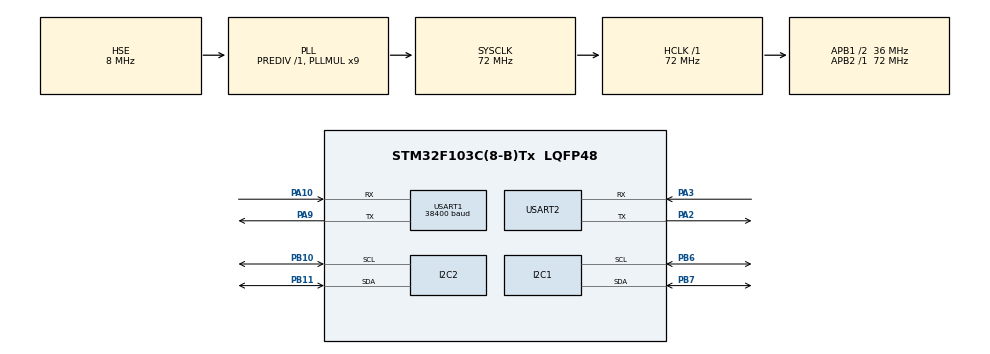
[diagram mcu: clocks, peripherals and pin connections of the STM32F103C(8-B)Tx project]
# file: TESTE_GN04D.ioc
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Dma.Request0=USART1_RX
Dma.Request1=USART2_TX
Dma.USART1_RX.0.Direction=DMA_PERIPH_TO_MEMORY
Dma.USART1_RX.0.Instance=DMA1_Channel5
Dma.USART1_RX.0.MemDataAlignment=DMA_MDATAALIGN_BYTE
Dma.USART1_RX.0.MemInc=DMA_MINC_ENABLE
Dma.USART1_RX.0.Mode=DMA_CIRCULAR
Dma.USART1_RX.0.PeriphDataAlignment=DMA_PDATAALIGN_BYTE
Dma.USART1_RX.0.PeriphInc=DMA_PINC_DISABLE
Dma.USART1_RX.0.Priority=DMA_PRIORITY_VERY_HIGH
Dma.USART2_TX.1.Direction=DMA_MEMORY_TO_PERIPH
Dma.USART2_TX.1.Instance=DMA1_Channel7
Dma.USART2_TX.1.MemDataAlignment=DMA_MDATAALIGN_BYTE
Dma.USART2_TX.1.MemInc=DMA_MINC_ENABLE
Dma.USART2_TX.1.Mode=DMA_NORMAL
Dma.USART2_TX.1.PeriphDataAlignment=DMA_PDATAALIGN_BYTE
Dma.USART2_TX.1.PeriphInc=DMA_PINC_DISABLE
Dma.USART2_TX.1.Priority=DMA_PRIORITY_LOW
I2C1.I2C_Mode=I2C_Fast
I2C2.I2C_Mode=I2C_Fast
Mcu.Family=STM32F1
Mcu.Name=STM32F103C(8-B)Tx
Mcu.Package=LQFP48
NVIC.DMA1_Channel5_IRQn=true\:0\:0\:false\:false\:true\:false\:true\:true
NVIC.DMA1_Channel7_IRQn=true\:0\:0\:false\:false\:true\:false\:true\:true
NVIC.PriorityGroup=NVIC_PRIORITYGROUP_4
NVIC.USART1_IRQn=true\:0\:0\:false\:false\:true\:true\:true\:true
NVIC.USART2_IRQn=true\:0\:0\:false\:false\:true\:true\:true\:true
PA10.Mode=Asynchronous
PA10.Signal=USART1_RX
PA13.Mode=Serial_Wire
PA13.Signal=SYS_JTMS-SWDIO
PA14.Mode=Serial_Wire
PA14.Signal=SYS_JTCK-SWCLK
PA2.Mode=Asynchronous
PA2.Signal=USART2_TX
PA3.Mode=Asynchronous
PA3.Signal=USART2_RX
PA9.Mode=Asynchronous
PA9.Signal=USART1_TX
PB10.Mode=I2C
PB10.Signal=I2C2_SCL
PB11.Mode=I2C
PB11.Signal=I2C2_SDA
PB6.Mode=I2C
PB6.Signal=I2C1_SCL
PB7.Mode=I2C
PB7.Signal=I2C1_SDA
PD0-OSC_IN.Mode=HSE-External-Oscillator
PD0-OSC_IN.Signal=RCC_OSC_IN
PD1-OSC_OUT.Mode=HSE-External-Oscillator
PD1-OSC_OUT.Signal=RCC_OSC_OUT
ProjectManager.HeapSize=0x200
ProjectManager.StackSize=0x400
ProjectManager.TargetToolchain=STM32CubeIDE
RCC.AHBFreq_Value=72000000
RCC.APB1CLKDivider=RCC_HCLK_DIV2
RCC.APB1Freq_Value=36000000
RCC.APB1TimFreq_Value=72000000
RCC.APB2Freq_Value=72000000
RCC.APB2TimFreq_Value=72000000
RCC.HCLKFreq_Value=72000000
RCC.PLLMUL=RCC_PLL_MUL9
RCC.PLLSourceVirtual=RCC_PLLSOURCE_HSE
RCC.SYSCLKFreq_VALUE=72000000
RCC.SYSCLKSource=RCC_SYSCLKSOURCE_PLLCLK
RCC.USBFreq_Value=72000000
USART1.BaudRate=38400
USART1.VirtualMode=VM_ASYNC
USART2.VirtualMode=VM_ASYNC
board=custom

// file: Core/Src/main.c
/* USER CODE BEGIN Header */
/**
  ******************************************************************************
  * @file           : main.c
  * @brief          : Main program body
  ******************************************************************************
  * @attention
  *
  * Copyright (c) 2026 STMicroelectronics.
  * All rights reserved.
  *
  * This software is licensed under terms that can be found in the LICENSE file
  * in the root directory of this software component.
  * If no LICENSE file comes with this software, it is provided AS-IS.
  *
  ******************************************************************************
  */
/* USER CODE END Header */
#include "main.h"
/* USER CODE BEGIN Includes */
#include "ICM_20948.h"
#include "imu_orientation.h"
#include <stdio.h>
#include <string.h>
#include <math.h>
/* USER CODE END Includes */

I2C_HandleTypeDef hi2c1;
I2C_HandleTypeDef hi2c2;

UART_HandleTypeDef huart1;
UART_HandleTypeDef huart2;
DMA_HandleTypeDef hdma_usart1_rx;
DMA_HandleTypeDef hdma_usart2_tx;

/* USER CODE BEGIN PV */
ICM20948_t icm;
ICM20948_e status;

/* A orientacao inicial e mantida pelo modulo imu_orientation.c. */
uint8_t imu_initialized = 0;
volatile uint32_t imu_read_errors = 0;
float imu_calib_acc_norm = 0.0f;
uint32_t imu_last_read = 0;
uint32_t imu_read_counter = 0;

#define GPS_DMA_SIZE 512
#define GPS_NMEA_SIZE 128

// Buffer escrito automaticamente pelo DMA
uint8_t gps_dma_buffer[GPS_DMA_SIZE];

// Posição de leitura do software
uint16_t gps_dma_read_pos = 0;

// Buffer para montar uma sentença NMEA
uint8_t gps_nmea_buffer[GPS_NMEA_SIZE];
uint16_t gps_nmea_index = 0;

// Indica se estamos recebendo uma sentença
uint8_t gps_nmea_active = 0;

// Estatísticas
uint32_t gps_rx_bytes = 0;
uint32_t gps_nmea_received = 0;
uint32_t gps_nmea_discarded = 0;

#define TX_QUEUE_SIZE 8
#define TX_MSG_SIZE   200

typedef struct
{
    uint8_t data[TX_MSG_SIZE];
    uint16_t length;
} TX_Message_t;

static TX_Message_t tx_queue[TX_QUEUE_SIZE];

static uint8_t tx_head = 0;
static uint8_t tx_tail = 0;
static uint8_t tx_count = 0;

static uint8_t tx_active = 0;
static volatile uint8_t tx_done = 0;

volatile uint32_t tx_sent = 0;
volatile uint32_t tx_dropped = 0;
volatile uint32_t tx_start_errors = 0;

/* USER CODE END PV */

void SystemClock_Config(void);
static void MX_GPIO_Init(void);
static void MX_DMA_Init(void);
static void MX_USART1_UART_Init(void);
static void MX_USART2_UART_Init(void);
static void MX_I2C2_Init(void);
static void MX_I2C1_Init(void);

/* USER CODE BEGIN 0 */

uint8_t TX_Enqueue(const uint8_t *data, uint16_t length)
{
    if (data == NULL ||
        length == 0 ||
        length > TX_MSG_SIZE)
    {
        tx_dropped++;
        return 0;
    }

    if (tx_count >= TX_QUEUE_SIZE)
    {
        tx_dropped++;
        return 0;
    }

    TX_Message_t *msg = &tx_queue[tx_head];

    memcpy(msg->data, data, length);
    msg->length = length;

    tx_head = (tx_head + 1U) % TX_QUEUE_SIZE;
    tx_count++;

    return 1;
}

void TX_Service(void)
{
    // Finaliza a mensagem anterior
    if (tx_done)
    {
        tx_done = 0;

        if (tx_active)
        {
            tx_active = 0;

            tx_tail = (tx_tail + 1U) % TX_QUEUE_SIZE;
            tx_count--;

            tx_sent++;
        }
    }

    // Se DMA ocupado ou fila vazia, retorna
    if (tx_active || tx_count == 0)
    {
        return;
    }

    TX_Message_t *msg = &tx_queue[tx_tail];

    HAL_StatusTypeDef result = HAL_UART_Transmit_DMA(
        &huart2,
        msg->data,
        msg->length
    );

    if (result == HAL_OK)
    {
        tx_active = 1;
    }
    else if (result == HAL_ERROR)
    {
        tx_start_errors++;
    }
}

void GPS_ProcessByte(uint8_t byte)
{
    gps_rx_bytes++;

    // Início de uma nova sentença NMEA
    if (byte == '$')
    {
        gps_nmea_index = 0;
        gps_nmea_active = 1;
    }

    // Ignora bytes fora de uma sentença
    if (!gps_nmea_active)
    {
        return;
    }

    // Proteção contra estouro do buffer
    if (gps_nmea_index >= GPS_NMEA_SIZE)
    {
        gps_nmea_index = 0;
        gps_nmea_active = 0;
        gps_nmea_discarded++;
        return;
    }

    // Armazena o byte recebido
    gps_nmea_buffer[gps_nmea_index++] = byte;

    // Sentença completa
    if (byte == '\n')
    {
        if (gps_nmea_index >= 7)
        {
            if (
                memcmp(gps_nmea_buffer, "$GNGGA,", 7) == 0 ||
                memcmp(gps_nmea_buffer, "$GNRMC,", 7) == 0
            )
            {
            	if (TX_Enqueue(gps_nmea_buffer, gps_nmea_index))
            	{
            	    gps_nmea_received++;
            	}
            	else
            	{
            	    gps_nmea_discarded++;
            	}
            }
        }

        gps_nmea_index = 0;
        gps_nmea_active = 0;
    }
}

void GPS_ProcessDMA(void)
{
    if (huart1.hdmarx == NULL ||
        huart1.RxState != HAL_UART_STATE_BUSY_RX)
    {
        return;
    }

    uint16_t write_pos =
        GPS_DMA_SIZE -
        __HAL_DMA_GET_COUNTER(huart1.hdmarx);

    if (write_pos >= GPS_DMA_SIZE)
    {
        write_pos = 0;
    }

    while (gps_dma_read_pos != write_pos)
    {
        uint8_t byte = gps_dma_buffer[gps_dma_read_pos];

        gps_dma_read_pos++;

        if (gps_dma_read_pos >= GPS_DMA_SIZE)
        {
            gps_dma_read_pos = 0;
        }

        GPS_ProcessByte(byte);
    }
}
/* Filtro a 100 Hz; transmissao compacta de atitude a 25 Hz. */
void IMU_ReadAndPrint(float dt)
{
    if (!imu_initialized) return;

    if (ICM20948_Read(&icm) != ICM20948_OK)
    {
        imu_read_errors++;
        return;
    }
    imu_read_counter++;

    /* O acelerometro entra BRUTO (g): nao retirar offsets de montagem.
       O giroscopio entra com o bias de repouso descontado (graus/s). */
    IMU_Attitude atitude;
    if (!IMU_OrientationUpdate(
            icm.accel.x, icm.accel.y, icm.accel.z,
            icm.gyro.x - icm.gyro_offset.x,
            icm.gyro.y - icm.gyro_offset.y,
            icm.gyro.z - icm.gyro_offset.z,
            dt, &atitude))
    {
        return;
    }

    static uint32_t ultimo_envio = 0;
    uint32_t agora = HAL_GetTick();
    if ((uint32_t)(agora - ultimo_envio) >= 40U)
    {
        ultimo_envio = agora;
        char msg[96];
        int len = snprintf(msg, sizeof(msg),
                           "$ATT,%.2f,%.2f,%.2f\r\n",
                           (double)atitude.roll_deg,
                           (double)atitude.pitch_deg,
                           (double)atitude.yaw_deg);
        if (len > 0 && len < (int)sizeof(msg))
        {
            TX_Enqueue((const uint8_t *)msg, (uint16_t)len);
        }
    }
}
/* USER CODE END 0 */

int main(void)
{

  /* MCU Configuration--------------------------------------------------------*/

  /* Reset of all peripherals, Initializes the Flash interface and the Systick. */
  HAL_Init();

  /* Configure the system clock */
  SystemClock_Config();

  /* Initialize all configured peripherals */
  MX_GPIO_Init();
  MX_DMA_Init();
  MX_USART1_UART_Init();
  MX_USART2_UART_Init();
  MX_I2C2_Init();
  MX_I2C1_Init();
  /* USER CODE BEGIN 2 */
  HAL_Delay(1000);

  // Configuracao da ICM-20948
  icm.i2c = &hi2c1;
  icm.address = ADDRESS_I2C_AD0_FROM_GND;

  // Inicializacao
  status = ICM20948_Init(&icm);

  if (status == ICM20948_OK)
  {
      /* Confere a escala REAL do CI antes de confiar nos valores em g e dps. */
      uint8_t accel_config_reg = 0;
      uint8_t gyro_config_reg = 0;
      ICM20948_e cfg_acc_status = ICM20948_SelectBank(&icm, BANK_2);
      ICM20948_e cfg_gyro_status = ICM20948_FAIL;
      if (cfg_acc_status == ICM20948_OK)
      {
          cfg_acc_status = ICM20948_Reg_Read(&icm, B2_ACCEL_CONFIG,
                                            &accel_config_reg, 1);
          cfg_gyro_status = ICM20948_Reg_Read(&icm, B2_GYRO_CONFIG,
                                             &gyro_config_reg, 1);
      }
      ICM20948_SelectBank(&icm, BANK_0);

      char cfg_msg[100];
      int cfg_len = snprintf(cfg_msg, sizeof(cfg_msg),
                             "ICM CFG ACC:0x%02X GYRO:0x%02X OK:%d\r\n",
                             accel_config_reg, gyro_config_reg,
                             (cfg_acc_status == ICM20948_OK &&
                              cfg_gyro_status == ICM20948_OK) ? 1 : 0);
      if (cfg_len > 0 && cfg_len < (int)sizeof(cfg_msg))
          HAL_UART_Transmit(&huart2, (uint8_t *)cfg_msg,
                            (uint16_t)cfg_len, 100);

      const char msg[] = "ICM20948 inicializado\r\n";

      HAL_UART_Transmit(
          &huart2,
          (uint8_t *)msg,
          sizeof(msg) - 1,
          100
      );

      // Calibra antes de iniciar o DMA do GPS
      status = ICM20948_Calibrate(&icm, 1000, 5);

      if (status == ICM20948_OK)
      {
          /* As medias do accelerometro foram armazenadas em acel_offset.
             O Z recebeu -1 g na biblioteca, portanto restauramos +1 g. */
          float ax0 = icm.acel_offset.x;
          float ay0 = icm.acel_offset.y;
          float az0 = icm.acel_offset.z + 1.0f;
          imu_calib_acc_norm = sqrtf(ax0*ax0 + ay0*ay0 + az0*az0);

          imu_initialized = IMU_OrientationBegin(ax0, ay0, az0) ? 1U : 0U;

          char calib_msg[120];
          int calib_len = snprintf(calib_msg, sizeof(calib_msg),
                                   "ICM calib: |ACC|=%.3f g, fusao=%s\r\n",
                                   (double)imu_calib_acc_norm,
                                   imu_initialized ? "OK" : "ERRO_ESCALA");
          if (calib_len > 0 && calib_len < (int)sizeof(calib_msg))
          {
              HAL_UART_Transmit(&huart2, (uint8_t *)calib_msg,
                                (uint16_t)calib_len, 100);
          }
          /* Se |ACC| for ~7.6 g em repouso, a fusao NAO inicia.
             Verifique ACCEL_CONFIG e o divisor no driver ICM_20948.c. */
      }
      else
      {
          char msg[80];

          int len = snprintf(
              msg,
              sizeof(msg),
              "ERRO CALIBRACAO IMU: %d\r\n",
              (int)status
          );

          if (len > 0 && len < (int)sizeof(msg))
          {
              HAL_UART_Transmit(
                  &huart2,
                  (uint8_t *)msg,
                  (uint16_t)len,
                  100
              );
          }
      }
  }
  else
  {
      char msg[80];

      int len = snprintf(
          msg,
          sizeof(msg),
          "ERRO INICIALIZACAO IMU: %d\r\n",
          (int)status
      );

      if (len > 0 && len < (int)sizeof(msg))
      {
          HAL_UART_Transmit(
              &huart2,
              (uint8_t *)msg,
              (uint16_t)len,
              100
          );
      }
  }

  char msg[100];

  HAL_StatusTypeDef gps_dma_status;

  if (huart1.hdmarx == NULL)
  {
      snprintf(
          msg,
          sizeof(msg),
          "ERRO: DMA USART1 NAO VINCULADO\r\n"
      );

      HAL_UART_Transmit(
          &huart2,
          (uint8_t *)msg,
          strlen(msg),
          100
      );
  }
  else
  {
	  const char inicio[] = "\r\nFIRMWARE DMA V2\r\n";

	  HAL_UART_Transmit(
	      &huart2,
	      (uint8_t *)inicio,
	      sizeof(inicio) - 1,
	      100
	  );
      gps_dma_status = HAL_UART_Receive_DMA(
          &huart1,
          gps_dma_buffer,
          GPS_DMA_SIZE
      );

      snprintf(
          msg,
          sizeof(msg),
          "GPS DMA STATUS: %d\r\n",
          (int)gps_dma_status
      );

      HAL_UART_Transmit(
          &huart2,
          (uint8_t *)msg,
          strlen(msg),
          100
      );
  }

  imu_last_read = HAL_GetTick();
  /* USER CODE END 2 */

  /* Infinite loop */
  /* USER CODE BEGIN WHILE */
  while (1)
  {

	    // Processa bytes recebidos do GPS
	    GPS_ProcessDMA();

	    // Avanca as transmissões da USART2
	    TX_Service();

	    uint32_t now = HAL_GetTick();

    // Leitura da IMU + fusao a cada ~10 ms (100 Hz)
    if ((uint32_t)(now - imu_last_read) >= 10U)
    {
        float dt = (float)((uint32_t)(now - imu_last_read)) * 0.001f;
        imu_last_read = now;
        IMU_ReadAndPrint(dt);
    }

	    // Inicia nova transmissão, se disponível
	    TX_Service();

    /* USER CODE END WHILE */

  }
}

void SystemClock_Config(void)
{
  RCC_OscInitTypeDef RCC_OscInitStruct = {0};
  RCC_ClkInitTypeDef RCC_ClkInitStruct = {0};

  /** Initializes the RCC Oscillators according to the specified parameters
  * in the RCC_OscInitTypeDef structure.
  */
  RCC_OscInitStruct.OscillatorType = RCC_OSCILLATORTYPE_HSE;
  RCC_OscInitStruct.HSEState = RCC_HSE_ON;
  RCC_OscInitStruct.HSEPredivValue = RCC_HSE_PREDIV_DIV1;
  RCC_OscInitStruct.HSIState = RCC_HSI_ON;
  RCC_OscInitStruct.PLL.PLLState = RCC_PLL_ON;
  RCC_OscInitStruct.PLL.PLLSource = RCC_PLLSOURCE_HSE;
  RCC_OscInitStruct.PLL.PLLMUL = RCC_PLL_MUL9;
  if (HAL_RCC_OscConfig(&RCC_OscInitStruct) != HAL_OK)
  {
    Error_Handler();
  }

  /** Initializes the CPU, AHB and APB buses clocks
  */
  RCC_ClkInitStruct.ClockType = RCC_CLOCKTYPE_HCLK|RCC_CLOCKTYPE_SYSCLK
                              |RCC_CLOCKTYPE_PCLK1|RCC_CLOCKTYPE_PCLK2;
  RCC_ClkInitStruct.SYSCLKSource = RCC_SYSCLKSOURCE_PLLCLK;
  RCC_ClkInitStruct.AHBCLKDivider = RCC_SYSCLK_DIV1;
  RCC_ClkInitStruct.APB1CLKDivider = RCC_HCLK_DIV2;
  RCC_ClkInitStruct.APB2CLKDivider = RCC_HCLK_DIV1;

  if (HAL_RCC_ClockConfig(&RCC_ClkInitStruct, FLASH_LATENCY_2) != HAL_OK)
  {
    Error_Handler();
  }
}

static void MX_I2C1_Init(void)
{

  hi2c1.Instance = I2C1;
  hi2c1.Init.ClockSpeed = 100000;
  hi2c1.Init.DutyCycle = I2C_DUTYCYCLE_2;
  hi2c1.Init.OwnAddress1 = 0;
  hi2c1.Init.AddressingMode = I2C_ADDRESSINGMODE_7BIT;
  hi2c1.Init.DualAddressMode = I2C_DUALADDRESS_DISABLE;
  hi2c1.Init.OwnAddress2 = 0;
  hi2c1.Init.GeneralCallMode = I2C_GENERALCALL_DISABLE;
  hi2c1.Init.NoStretchMode = I2C_NOSTRETCH_DISABLE;
  if (HAL_I2C_Init(&hi2c1) != HAL_OK)
  {
    Error_Handler();
  }

}

static void MX_I2C2_Init(void)
{

  hi2c2.Instance = I2C2;
  hi2c2.Init.ClockSpeed = 400000;
  hi2c2.Init.DutyCycle = I2C_DUTYCYCLE_2;
  hi2c2.Init.OwnAddress1 = 0;
  hi2c2.Init.AddressingMode = I2C_ADDRESSINGMODE_7BIT;
  hi2c2.Init.DualAddressMode = I2C_DUALADDRESS_DISABLE;
  hi2c2.Init.OwnAddress2 = 0;
  hi2c2.Init.GeneralCallMode = I2C_GENERALCALL_DISABLE;
  hi2c2.Init.NoStretchMode = I2C_NOSTRETCH_DISABLE;
  if (HAL_I2C_Init(&hi2c2) != HAL_OK)
  {
    Error_Handler();
  }

}

static void MX_USART1_UART_Init(void)
{

  huart1.Instance = USART1;
  huart1.Init.BaudRate = 38400;
  huart1.Init.WordLength = UART_WORDLENGTH_8B;
  huart1.Init.StopBits = UART_STOPBITS_1;
  huart1.Init.Parity = UART_PARITY_NONE;
  huart1.Init.Mode = UART_MODE_TX_RX;
  huart1.Init.HwFlowCtl = UART_HWCONTROL_NONE;
  huart1.Init.OverSampling = UART_OVERSAMPLING_16;
  if (HAL_UART_Init(&huart1) != HAL_OK)
  {
    Error_Handler();
  }

}

static void MX_USART2_UART_Init(void)
{

  huart2.Instance = USART2;
  huart2.Init.BaudRate = 115200;
  huart2.Init.WordLength = UART_WORDLENGTH_8B;
  huart2.Init.StopBits = UART_STOPBITS_1;
  huart2.Init.Parity = UART_PARITY_NONE;
  huart2.Init.Mode = UART_MODE_TX_RX;
  huart2.Init.HwFlowCtl = UART_HWCONTROL_NONE;
  huart2.Init.OverSampling = UART_OVERSAMPLING_16;
  if (HAL_UART_Init(&huart2) != HAL_OK)
  {
    Error_Handler();
  }

}

static void MX_DMA_Init(void)
{

  /* DMA controller clock enable */
  __HAL_RCC_DMA1_CLK_ENABLE();

  /* DMA interrupt init */
  /* DMA1_Channel5_IRQn interrupt configuration */
  HAL_NVIC_SetPriority(DMA1_Channel5_IRQn, 0, 0);
  HAL_NVIC_EnableIRQ(DMA1_Channel5_IRQn);
  /* DMA1_Channel7_IRQn interrupt configuration */
  HAL_NVIC_SetPriority(DMA1_Channel7_IRQn, 0, 0);
  HAL_NVIC_EnableIRQ(DMA1_Channel7_IRQn);

}

static void MX_GPIO_Init(void)
{

  /* GPIO Ports Clock Enable */
  __HAL_RCC_GPIOD_CLK_ENABLE();
  __HAL_RCC_GPIOA_CLK_ENABLE();
  __HAL_RCC_GPIOB_CLK_ENABLE();

}

/* USER CODE BEGIN 4 */
void HAL_UART_TxCpltCallback(UART_HandleTypeDef *huart)
{
    if (huart->Instance == USART2)
    {
        tx_done = 1;
    }
}

/* USER CODE END 4 */

void Error_Handler(void)
{
  __disable_irq();
  while (1)
  {
  }
}
